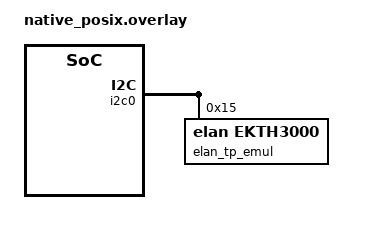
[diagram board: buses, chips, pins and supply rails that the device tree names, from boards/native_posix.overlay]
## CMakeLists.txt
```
target_sources(app PRIVATE
    src/battery.c
    src/bb_retimer.c
    src/bma2x2.c
    src/bma4xx.c
    src/bmi_common.c
    src/bmi160.c
    src/bmi260.c
    src/charge_manager.c
    src/charge_ramp.c
    src/charge_state_prevent_power_on.c
    src/console.c
    src/cros_cbi.c
    src/espi.c
    src/gpio.c
    src/integration/usbc/usb.c
    src/integration/usbc/usb_20v_3a_pd_charger.c
    src/integration/usbc/usb_5v_3a_pd_sink.c
    src/integration/usbc/usb_5v_100ma_pd_sink.c
    src/integration/usbc/usb_5v_0a_pd_source.c
    src/integration/usbc/usb_5v_3a_pd_source.c
    src/integration/usbc/usb_attach_src_snk.c
    src/integration/usbc/usb_charging_policy.c
    src/integration/usbc/usb_hard_reset.c
    src/integration/usbc/usb_pd_bist_shared.c
    src/integration/usbc/usb_pd_ctrl_msg.c
    src/integration/usbc/usb_pd_rev3.c
    src/i2c.c
    src/i2c_passthru.c
    src/isl923x.c
    src/led.c
    src/lid_angle.c
    src/lid_switch.c
    src/lis2dw12.c
    src/ln9310.c
    src/locate_chip.c
    src/logging.c
    src/motion_sense/motion_sense.c
    src/panic.c
    src/panic_output.c
    src/port80.c
    src/power_common.c
    src/ppc_sn5s330.c
    src/ppc_syv682x.c
    src/ps8xxx.c
    src/stm_mems_common.c
    src/tablet_mode.c
    src/task.c
    src/tcpci.c
    src/tcpci_test_common.c
    src/tcpm_header.c
    src/tcs3400.c
    src/temp_sensor.c
    src/thermistor.c
    src/touchpad_elan.c
    src/usb_mux.c
    src/util.c
    src/vboot_hash.c
    src/virtual_battery.c
    src/vstore.c
    src/watchdog.c
)

add_subdirectory(
    ${PLATFORM_EC}/zephyr/test/drivers/mock_panic_output
    mock_panic_output
)

# This test does not work when power functions are mocked, so only run it for
# the plain `drivers.default` test case.
zephyr_library_sources_ifndef(CONFIG_POWER_SEQUENCE_MOCK src/chipset.c)
```

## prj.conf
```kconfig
# Copyright 2022 The ChromiumOS Authors
# Use of this source code is governed by a BSD-style license that can be
# found in the LICENSE file.

CONFIG_PLATFORM_EC_CMD_BUTTON=y
CONFIG_PLATFORM_EC_CMD_POWERINDEBUG=y
CONFIG_PLATFORM_EC_CONSOLE_CMD_RTC=y
CONFIG_PLATFORM_EC_CONSOLE_CMD_RTC_ALARM=y
CONFIG_PLATFORM_EC_RTC=y
CONFIG_PLATFORM_EC_VOLUME_BUTTONS=y
CONFIG_TASK_HOSTCMD_THREAD_MAIN=y
CONFIG_PLATFORM_EC_USBC_PPC_DEDICATED_INT=y

CONFIG_SYSTEM_FAKE=y
CONFIG_GPIO_GET_CONFIG=y
CONFIG_PLATFORM_EC_CHARGER_INPUT_CURRENT_DERATE_PCT=0
CONFIG_PLATFORM_EC_CHARGER_SET_FREQUENCY=y
CONFIG_PLATFORM_EC_LOG_CUSTOM_TIMESTAMP=y
CONFIG_PLATFORM_EC_USB_CHARGER=y
```

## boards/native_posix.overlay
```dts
/* Copyright 2022 The ChromiumOS Authors
 * Use of this source code is governed by a BSD-style license that can be
 * found in the LICENSE file.
 */

#include "../../boards/native_posix.overlay"

/*
 * The TCPCI test verfies the mux behavior in two configurations:
 *   flags = USB_MUX_FLAG_NOT_TCPC;
 *   flags = 0;
 *
 * When USB_MUX_FLAG_NOT_TCPC is set, the TCPCI mux driver must initialize
 * the I2C bus and address from the devicetree.
 *
 * The TCPCI mux doesn't have it's owm emulator and sends it's I2C transactions
 * through the normal TCPCI driver, which then connects to the TCPCI emulator.
 *
 * Use 2 compaible strings here so that the same I2C device node gets setup for
 * both the emulator and the TPCI mux.
 */
&tcpci_emul {
	compatible = "cros,tcpci-generic-emul", "cros-ec,usbc-mux-tcpci";
};

/ {
	usbc {
		port0@0 {
			usb-mux-chain-0 {
				usb-muxes = <&tcpci_emul &virtual_mux_c0>;
			};
		};
	};

	gpio-interrupts {
		int_touchpad_elan: touchpad_elan {
			irq-pin = <&gpio_touchpad_elan_int>;
			flags = <GPIO_INT_EDGE_FALLING>;
			handler = "touchpad_interrupt";
		};
	};
};

&i2c0 {
	elan_tp_emul: elan-tp@15 {
		compatible = "elan,ekth3000";
		reg = <0x15>;
		irq = <&int_touchpad_elan>;
		logical_max_x = <2644>;
		logical_max_y = <1440>;
		physical_max_x = <839>;
		physical_max_y = <457>;
	};
};
```

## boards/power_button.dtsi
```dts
/* Copyright 2023 The ChromiumOS Authors
 * Use of this source code is governed by a BSD-style license that can be
 * found in the LICENSE file.
 */
#include <dt-bindings/buttons.h>
#include <zephyr/dt-bindings/input/input-event-codes.h>

/ {
	gpio_keys0: gpio-keys {
		compatible = "zephyr,gpio-keys";
		debounce-interval-ms = <30>;
		power_button: power_button {
			gpios = <&gpio0 25 (GPIO_ACTIVE_LOW | GPIO_PULL_UP)>;
			/* TODO: use an INPUT_KEY code here. */
			zephyr,code = <BUTTON_POWER>;
		};
	};

};
```

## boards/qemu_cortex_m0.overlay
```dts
/* Copyright 2022 The ChromiumOS Authors
 * Use of this source code is governed by a BSD-style license that can be
 * found in the LICENSE file.
 */

#include "../../boards/qemu_cortex_m0.overlay"

/*
 * The TCPCI test verfies the mux behavior in two configurations:
 *   flags = USB_MUX_FLAG_NOT_TCPC;
 *   flags = 0;
 *
 * When USB_MUX_FLAG_NOT_TCPC is set, the TCPCI mux driver must initialize
 * the I2C bus and address from the devicetree.
 *
 * The TCPCI mux doesn't have it's owm emulator and sends it's I2C transactions
 * through the normal TCPCI driver, which then connects to the TCPCI emulator.
 *
 * Use 2 compaible strings here so that the same I2C device node gets setup for
 * both the emulator and the TPCI mux.
 */
&tcpci_emul {
	compatible = "cros,tcpci-generic-emul", "cros-ec,usbc-mux-tcpci";
};

/ {
	usbc {
		port0@0 {
			usb-mux-chain-0 {
				usb-muxes = <&tcpci_emul &virtual_mux_c0>;
			};
		};
	};
};
```

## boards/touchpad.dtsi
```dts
/* Copyright 2024 The ChromiumOS Authors
 * Use of this source code is governed by a BSD-style license that can be
 * found in the LICENSE file.
 */

/ {
	gpio-interrupts {
		int_touchpad_elan: touchpad_elan {
			irq-pin = <&gpio_touchpad_elan_int>;
			flags = <GPIO_INT_EDGE_FALLING>;
			handler = "touchpad_interrupt";
		};
	};
};

&i2c0 {
	elan_tp_emul: elan-tp@15 {
		compatible = "elan,ekth3000";
		reg = <0x15>;
		irq = <&int_touchpad_elan>;
		logical-max-x = <2644>;
		logical-max-y = <1440>;
		physical-max-x = <839>;
		physical-max-y = <457>;
	};
};
```

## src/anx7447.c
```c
/* Copyright 2022 The ChromiumOS Authors
 * Use of this source code is governed by a BSD-style license that can be
 * found in the LICENSE file.
 */

#include <zephyr/drivers/emul.h>
#include <zephyr/ztest.h>

#include "emul/tcpc/emul_tcpci.h"
#include "tcpm/anx7447_public.h"
#include "tcpm/tcpci.h"
#include "test/drivers/stubs.h"
#include "test/drivers/test_state.h"
#include "usb_pd.h"

#define ANX7447_NODE DT_NODELABEL(anx7447_emul)

static const int tcpm_anx7447_port = USBC_PORT_C2;

ZTEST_SUITE(low_power_mode, drivers_predicate_post_main, NULL, NULL, NULL,
	    NULL);

ZTEST(low_power_mode, enter_low_power_in_source_mode)
{
	uint16_t reg_val = 0;
	const struct emul *anx7447_emul = EMUL_DT_GET(ANX7447_NODE);

	pd_set_dual_role(tcpm_anx7447_port, PD_DRP_FORCE_SOURCE);
	tcpci_emul_set_reg(anx7447_emul, TCPC_REG_ROLE_CTRL, 0);

	zassert_ok(anx7447_tcpm_drv.enter_low_power_mode(tcpm_anx7447_port),
		   "Cannot enter low power mode");
	zassert_ok(tcpci_emul_get_reg(anx7447_emul, TCPC_REG_ROLE_CTRL,
				      &reg_val),
		   "Cannot get TCPC Role Register value");
	zassert_equal(
		reg_val,
		TCPC_REG_ROLE_CTRL_SET(TYPEC_NO_DRP, TYPEC_RP_USB, TYPEC_CC_RP,
				       TYPEC_CC_RP),
		"Role register value is not as expected while entering low power mode");
}

ZTEST(low_power_mode, enter_low_power_not_in_source_mode)
{
	uint16_t reg_val = 0;
	const struct emul *anx7447_emul = EMUL_DT_GET(ANX7447_NODE);

	pd_set_dual_role(tcpm_anx7447_port, PD_DRP_FORCE_SINK);
	tcpci_emul_set_reg(anx7447_emul, TCPC_REG_ROLE_CTRL, 0);

	zassert_ok(anx7447_tcpm_drv.enter_low_power_mode(tcpm_anx7447_port),
		   "Cannot enter low power mode");
	zassert_ok(tcpci_emul_get_reg(anx7447_emul, TCPC_REG_ROLE_CTRL,
				      &reg_val),
		   "Cannot get TCPC Role Register value");
	zassert_equal(reg_val, 0, "Role register value is changed");
}
```

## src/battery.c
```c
/* Copyright 2021 The ChromiumOS Authors
 * Use of this source code is governed by a BSD-style license that can be
 * found in the LICENSE file.
 */

#include "battery.h"
#include "battery_fuel_gauge.h"
#include "crc8.h"
#include "emul/emul_common_i2c.h"
#include "emul/emul_smart_battery.h"
#include "test/drivers/test_state.h"
#include "test/drivers/utils.h"

#include <zephyr/drivers/emul.h>
#include <zephyr/drivers/gpio.h>
#include <zephyr/drivers/gpio/gpio_emul.h>
#include <zephyr/fff.h>
#include <zephyr/kernel.h>
#include <zephyr/ztest.h>

#define GPIO_BATT_PRES_ODL_PATH NAMED_GPIOS_GPIO_NODE(ec_batt_pres_odl)
#define GPIO_BATT_PRES_ODL_PORT DT_GPIO_PIN(GPIO_BATT_PRES_ODL_PATH, gpios)

FAKE_VALUE_FUNC(int, battery2_write_func, const struct emul *, int, uint8_t,
		int, void *);
FAKE_VALUE_FUNC(int, battery2_read_func, const struct emul *, int, uint8_t *,
		int, void *);

bool authenticate_battery_type(int index, const char *manuf_name);

extern int battery_fuel_gauge_type_override;

struct battery_fixture {
	struct i2c_common_emul_data *battery_i2c_common;
	i2c_common_emul_finish_write_func finish_write_func;
	i2c_common_emul_start_read_func start_read_func;
};

static void *battery_setup(void)
{
	static struct battery_fixture fixture;
	static const struct emul *emul = EMUL_DT_GET(DT_NODELABEL(battery));

	fixture.battery_i2c_common =
		emul_smart_battery_get_i2c_common_data(emul);

	return &fixture;
}

static void battery_before(void *data)
{
	struct battery_fixture *fixture = data;

	RESET_FAKE(battery2_write_func);
	RESET_FAKE(battery2_read_func);
	fixture->finish_write_func = fixture->battery_i2c_common->finish_write;
	fixture->start_read_func = fixture->battery_i2c_common->start_read;
}

static void battery_after(void *data)
{
	struct battery_fixture *fixture = data;
	const struct device *dev =
		DEVICE_DT_GET(DT_GPIO_CTLR(GPIO_BATT_PRES_ODL_PATH, gpios));

	/* Set default state (battery is present) */
	gpio_emul_input_set(dev, GPIO_BATT_PRES_ODL_PORT, 0);
	battery_fuel_gauge_type_override = -1;

	i2c_common_emul_set_write_func(fixture->battery_i2c_common, NULL, NULL);
	i2c_common_emul_set_read_func(fixture->battery_i2c_common, NULL, NULL);
	fixture->battery_i2c_common->finish_write = fixture->finish_write_func;
	fixture->battery_i2c_common->start_read = fixture->start_read_func;
}

ZTEST_SUITE(battery, drivers_predicate_post_main, battery_setup, battery_before,
	    battery_after, NULL);

ZTEST_USER(battery, test_battery_is_present_gpio)
{
	const struct device *dev =
		DEVICE_DT_GET(DT_GPIO_CTLR(GPIO_BATT_PRES_ODL_PATH, gpios));

	zassert_not_null(dev, NULL);
	/* ec_batt_pres_odl = 0 means battery present. */
	zassert_ok(gpio_emul_input_set(dev, GPIO_BATT_PRES_ODL_PORT, 0));
	zassert_equal(BP_YES, battery_is_present());
	/* ec_batt_pres_odl = 1 means battery missing. */
	zassert_ok(gpio_emul_input_set(dev, GPIO_BATT_PRES_ODL_PORT, 1));
	zassert_equal(BP_NO, battery_is_present());
}

ZTEST(battery, test_authenticate_battery_type)
{
	/* Invalid index */
	zassert_false(authenticate_battery_type(BATTERY_TYPE_COUNT, NULL));
	/* Use fuel-gauge 1's manufacturer name for index 0 */
	zassert_false(authenticate_battery_type(
		0, board_battery_info[1].manuf_name));
	/* Use the correct manufacturer name, but wrong device name (because the
	 * index is 1 and not 0)
	 */
	zassert_false(authenticate_battery_type(
		1, board_battery_info[1].manuf_name));
}

ZTEST(battery, test_board_get_default_battery_type)
{
	zassert_equal(DEFAULT_BATTERY_TYPE, board_get_default_battery_type());
}

ZTEST_F(battery, test_board_cutoff_actuates_driver)
{
	/* We check the return type because board_is_cut_off() is set outside of
	 * board_cut_off_battery() and may be changed by other factors.
	 */

	/* Setup error conditions for battery 1*/
	battery_fuel_gauge_type_override = 1;
	fixture->battery_i2c_common->finish_write = NULL;
	i2c_common_emul_set_write_func(fixture->battery_i2c_common,
				       battery2_write_func, NULL);

	/* Check that i2c error returns EC_RES_ERROR */
	battery2_write_func_fake.return_val = -1;
	zassert_equal(EC_RES_ERROR, board_cut_off_battery());

	/* Check for OK when i2c succeeds */
	battery2_write_func_fake.return_val = 0;
	zassert_ok(board_cut_off_battery());
}

ZTEST_F(battery, test_sleep)
{
	/* Check 1st battery (lgc,ac17a8m) */
	battery_fuel_gauge_type_override = 0;
	zassert_equal(EC_ERROR_UNIMPLEMENTED, battery_sleep_fuel_gauge());

	/* Check 2nd battery (panasonic,ap15l5j) */
	battery_fuel_gauge_type_override = 1;
	fixture->battery_i2c_common->finish_write = NULL;
	i2c_common_emul_set_write_func(fixture->battery_i2c_common,
				       battery2_write_func, NULL);
	zassert_ok(battery_sleep_fuel_gauge());
}

struct battery2_read_data {
	size_t count;
	const uint8_t *values;
};

static int battery2_read(const struct emul *target, int reg, uint8_t *val,
			 int bytes, void *d)
{
	struct battery2_read_data *data = d;

	if (bytes < data->count) {
		*val = data->values[bytes];
	}

	return 0;
}

ZTEST(battery, test_is_charge_fet_disabled__cfet_mask_is_0)
{
	battery_fuel_gauge_type_override = 2;
	zassert_equal(0, battery_is_charge_fet_disabled());
}

ZTEST_F(battery, test_is_charge_fet_disabled__i2c_error)
{
	/* Set the battery to battery 1 */
	battery_fuel_gauge_type_override = 1;

	/* Override the finish_write common callback since we don't actually
	 * want to be messing with the emulator.
	 */
	fixture->battery_i2c_common->finish_write = NULL;

	/* Set up an error condition for battery 1 to fail writing to i2c */
	battery2_write_func_fake.return_val = -1;
	i2c_common_emul_set_write_func(fixture->battery_i2c_common,
				       battery2_write_func, NULL);

	/* Verify the error */
	zassert_equal(-1, battery_is_charge_fet_disabled());
}

ZTEST_F(battery, test_is_charge_fet_disabled)
{
	static uint8_t values[] = { 0x20, 0x54, 0xFF };

	static struct battery2_read_data data = {
		/* assume no PEC for count. We'll add it later if we need it */
		.count = ARRAY_SIZE(values) - 1,
		.values = values,
	};

	/* TODO(b/279203401): This code should actually live in an API to tell
	 * the emulator what an expected response is, rather than in the test
	 */
	if (IS_ENABLED(CONFIG_SMBUS_PEC)) {
		uint8_t pec;

		/* make room for the R/W bit */
		const uint8_t addr_8bit = 0xb << 1;

		/* from the DT battery node, grab fet_reg_addr,
		 * default is 0x0 MFG
		 */
		const uint8_t reg =
			DT_PROP_OR(DT_NODELABEL(battery), fet_reg_addr, 0x0);

		/* copied from i2c_controller.c:platform_ec_i2c_read
		 *
		 * We start our CRC with the front part of the i2c packet,
		 * which is the host driving address+reg/cmd, and then
		 * redriving address with read bit. This goes into "out"
		 * Then we complete the CRC across the two data bytes.
		 * This is the target driving it back.
		 * Finally, we'll append PEC to the end of the data, also
		 * something the target would return back.
		 * See: SMBUS Specification 3.2 page 40, & Sec 6.5
		 * http://smbus.org/specs/SMBus_3_2_20220112.pdf
		 */

		const uint8_t out[3] = { addr_8bit, reg, addr_8bit | 1 };

		pec = cros_crc8(out, ARRAY_SIZE(out));
		pec = cros_crc8_arg(values, ARRAY_SIZE(values) - 1, pec);

		values[ARRAY_SIZE(values) - 1] = pec;
		data.count++; /* update for PEC */
	}

	/* Set up the fake read function */
	battery2_read_func_fake.custom_fake = battery2_read;
	i2c_common_emul_set_read_func(fixture->battery_i2c_common,
				      battery2_read_func, &data);

	/* Override the finish_write and start_read common callback since we
	 * don't actually want to be messing with the emulator.
	 */
	fixture->battery_i2c_common->finish_write = NULL;
	fixture->battery_i2c_common->start_read = NULL;

	int rv = battery_is_charge_fet_disabled();

	zassert_equal(1, rv, "RV=%x", rv);
}

ZTEST_F(battery, test_get_disconnect_state__fail_i2c_read)
{
	/* Use battery 0 */
	battery_fuel_gauge_type_override = 0;

	/* Configure i2c to fail on read */
	battery2_read_func_fake.return_val = -1;
	i2c_common_emul_set_read_func(fixture->battery_i2c_common,
				      battery2_read_func, NULL);

	/* Check for disconnect error */
	zassert_equal(BATTERY_DISCONNECT_ERROR, battery_get_disconnect_state());
}

ZTEST_F(battery, test_get_disconnect_state)
{
	uint8_t values[] = { 0x00, 0x20, 0xFF };
	struct battery2_read_data data = {
		/* assume no PEC for count. We'll add it later if we need it */
		.count = ARRAY_SIZE(values) - 1,
		.values = values,
	};

	/* Use battery 0 */
	battery_fuel_gauge_type_override = 0;

	/* TODO(b/279203401): This code should actually live in an API to tell
	 * the emulator what an expected response is, rather than in the test
	 */
	if (IS_ENABLED(CONFIG_SMBUS_PEC)) {
		uint8_t pec;

		/* make room for the R/W bit */
		const uint8_t addr_8bit = 0xb << 1;

		/* reg is normally 0x0 for manufacturer access, but it can
		 * come from elsewhere. use the device tree for this purpose
		 */
		uint8_t mfg_reg = DT_PROP_OR(DT_NODELABEL(battery),
					     ship_mode_reg_addr, 0x0);
		const uint8_t out[3] = { addr_8bit, mfg_reg, addr_8bit | 1 };

		pec = cros_crc8(out, ARRAY_SIZE(out));
		pec = cros_crc8_arg(values, 2, pec);

		values[2] = pec;
		data.count = 3; /* update for PEC */
	}

	/* Enable i2c reads and set them to always return 0x2000 */
	battery2_read_func_fake.custom_fake = battery2_read;
	i2c_common_emul_set_read_func(fixture->battery_i2c_common,
				      battery2_read_func, &data);

	int rv = battery_get_disconnect_state();

	zassert_equal(BATTERY_DISCONNECTED, rv, "RV=%x", rv);
}
```

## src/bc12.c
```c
/* Copyright 2021 The ChromiumOS Authors
 * Use of this source code is governed by a BSD-style license that can be
 * found in the LICENSE file.
 */

#include "battery.h"
#include "emul/emul_pi3usb9201.h"
#include "extpower.h"
#include "test/drivers/stubs.h"
#include "test/drivers/test_state.h"
#include "test/drivers/utils.h"
#include "timer.h"
#include "usb_charge.h"

#include <zephyr/drivers/gpio.h>
#include <zephyr/drivers/gpio/gpio_emul.h>
#include <zephyr/kernel.h>
#include <zephyr/logging/log.h>
#include <zephyr/ztest.h>
LOG_MODULE_REGISTER(test_drivers_bc12, LOG_LEVEL_DBG);

#define EMUL_NODE DT_NODELABEL(pi3usb9201_emul)

/* Control_1 register bit definitions */
#define PI3USB9201_REG_CTRL_1_INT_MASK BIT(0)
#define PI3USB9201_REG_CTRL_1_MODE_SHIFT 1
#define PI3USB9201_REG_CTRL_1_MODE_MASK \
	(0x7 << PI3USB9201_REG_CTRL_1_MODE_SHIFT)

/* Control_2 register bit definitions */
#define PI3USB9201_REG_CTRL_2_AUTO_SW BIT(1)
#define PI3USB9201_REG_CTRL_2_START_DET BIT(3)

/* Host status register bit definitions */
#define PI3USB9201_REG_HOST_STS_BC12_DET BIT(0)
#define PI3USB9201_REG_HOST_STS_DEV_PLUG BIT(1)
#define PI3USB9201_REG_HOST_STS_DEV_UNPLUG BIT(2)

enum pi3usb9201_mode {
	PI3USB9201_POWER_DOWN,
	PI3USB9201_SDP_HOST_MODE,
	PI3USB9201_DCP_HOST_MODE,
	PI3USB9201_CDP_HOST_MODE,
	PI3USB9201_CLIENT_MODE,
	PI3USB9201_RESERVED_1,
	PI3USB9201_RESERVED_2,
	PI3USB9201_USB_PATH_ON,
};

enum pi3usb9201_client_sts {
	CHG_OTHER = 0,
	CHG_2_4A,
	CHG_2_0A,
	CHG_1_0A,
	CHG_RESERVED,
	CHG_CDP,
	CHG_SDP,
	CHG_DCP,
};

struct bc12_status {
	enum charge_supplier supplier;
	int current_limit;
};

static const struct bc12_status bc12_chg_limits[] = {
	[CHG_OTHER] = { .supplier = CHARGE_SUPPLIER_OTHER,
			.current_limit = 500 },
	[CHG_2_4A] = { .supplier = CHARGE_SUPPLIER_PROPRIETARY,
		       .current_limit = USB_CHARGER_MAX_CURR_MA },
	[CHG_2_0A] = { .supplier = CHARGE_SUPPLIER_PROPRIETARY,
		       .current_limit = USB_CHARGER_MAX_CURR_MA },
	[CHG_1_0A] = { .supplier = CHARGE_SUPPLIER_PROPRIETARY,
		       .current_limit = 1000 },
	[CHG_RESERVED] = { .supplier = CHARGE_SUPPLIER_NONE,
			   .current_limit = 0 },
	[CHG_CDP] = { .supplier = CHARGE_SUPPLIER_BC12_CDP,
		      .current_limit = USB_CHARGER_MAX_CURR_MA },
	[CHG_SDP] = { .supplier = CHARGE_SUPPLIER_BC12_SDP,
		      .current_limit = 500 },
#if defined(CONFIG_CHARGE_RAMP_SW) || defined(CONFIG_CHARGE_RAMP_HW)
	[CHG_DCP] = { .supplier = CHARGE_SUPPLIER_BC12_DCP,
		      .current_limit = USB_CHARGER_MAX_CURR_MA },
#else
	[CHG_DCP] = { .supplier = CHARGE_SUPPLIER_BC12_DCP,
		      .current_limit = 500 },
#endif
};

#define GPIO_BATT_PRES_ODL_PATH DT_PATH(named_gpios, ec_batt_pres_odl)
#define GPIO_BATT_PRES_ODL_PORT DT_GPIO_PIN(GPIO_BATT_PRES_ODL_PATH, gpios)

static void test_bc12_pi3usb9201_host_mode(void)
{
	const struct emul *emul = EMUL_DT_GET(EMUL_NODE);
	uint8_t a, b;

	/*
	 * Pretend that the USB-C Port Manager (TCPMv2) has set the port data
	 * role to DFP.
	 */
	usb_charger_task_set_event(0, USB_CHG_EVENT_DR_DFP);
	msleep(1);
	/*
	 * Expect the pi3usb9201 driver to configure CDP host mode and unmask
	 * interrupts.
	 */
	pi3usb9201_emul_get_reg(emul, PI3USB9201_REG_CTRL_1, &a);
	b = PI3USB9201_CDP_HOST_MODE << PI3USB9201_REG_CTRL_1_MODE_SHIFT;
	zassert_equal(a, b, NULL);

	/* Pretend that a device has been plugged in. */
	msleep(500);
	pi3usb9201_emul_set_reg(emul, PI3USB9201_REG_HOST_STS,
				PI3USB9201_REG_HOST_STS_DEV_PLUG);
	usb_charger_task_set_event(0, USB_CHG_EVENT_BC12);
	msleep(1);
	/* Expect the pi3usb9201 driver to configure SDP host mode. */
	pi3usb9201_emul_get_reg(emul, PI3USB9201_REG_CTRL_1, &a);
	b = PI3USB9201_SDP_HOST_MODE << PI3USB9201_REG_CTRL_1_MODE_SHIFT;
	zassert_equal(a, b, NULL);
	pi3usb9201_emul_set_reg(emul, PI3USB9201_REG_HOST_STS, 0);

	/* Pretend that a device has been unplugged. */
	msleep(500);
	pi3usb9201_emul_set_reg(emul, PI3USB9201_REG_HOST_STS,
				PI3USB9201_REG_HOST_STS_DEV_UNPLUG);
	usb_charger_task_set_event(0, USB_CHG_EVENT_BC12);
	msleep(1);
	/* Expect the pi3usb9201 driver to configure CDP host mode. */
	pi3usb9201_emul_get_reg(emul, PI3USB9201_REG_CTRL_1, &a);
	b = PI3USB9201_CDP_HOST_MODE << PI3USB9201_REG_CTRL_1_MODE_SHIFT;
	zassert_equal(a, b, NULL);
	pi3usb9201_emul_set_reg(emul, PI3USB9201_REG_HOST_STS, 0);
}

static void
test_bc12_pi3usb9201_client_mode(enum pi3usb9201_client_sts detect_result,
				 enum charge_supplier supplier,
				 int current_limit)
{
	const struct emul *emul = EMUL_DT_GET(EMUL_NODE);
	uint8_t a, b;
	int port, voltage;

	/*
	 * Pretend that the USB-C Port Manager (TCPMv2) has set the port data
	 * role to UFP and decided charging from the port is allowed.
	 */
	msleep(500);
	usb_charger_task_set_event(0, USB_CHG_EVENT_DR_UFP);
	charge_manager_update_dualrole(USBC_PORT_C0, CAP_DEDICATED);
	msleep(1);
	/*
	 * Expect the pi3usb9201 driver to configure client mode and start
	 * detection.
	 */
	pi3usb9201_emul_get_reg(emul, PI3USB9201_REG_CTRL_1, &a);
	b = PI3USB9201_CLIENT_MODE << PI3USB9201_REG_CTRL_1_MODE_SHIFT;
	zassert_equal(a, b, NULL);
	pi3usb9201_emul_get_reg(emul, PI3USB9201_REG_CTRL_2, &a);
	b = PI3USB9201_REG_CTRL_2_START_DET;
	zassert_equal(a, b, NULL);

	/* Pretend that detection completed. */
	msleep(500);
	pi3usb9201_emul_set_reg(emul, PI3USB9201_REG_CLIENT_STS,
				1 << detect_result);
	usb_charger_task_set_event(0, USB_CHG_EVENT_BC12);
	msleep(1);
	/* Expect the pi3usb9201 driver to clear the start bit. */
	pi3usb9201_emul_get_reg(emul, PI3USB9201_REG_CTRL_2, &a);
	zassert_equal(a, 0, NULL);
	pi3usb9201_emul_set_reg(emul, PI3USB9201_REG_CLIENT_STS, 0);
	/*
	 * Expect the charge manager to select the detected BC1.2 supplier.
	 */
	port = CHARGE_PORT_NONE;
	voltage = 0;
	if (supplier != CHARGE_SUPPLIER_NONE) {
		port = USBC_PORT_C0;
		voltage = USB_CHARGER_VOLTAGE_MV;
	}
	/* Wait for the charge port to update. */
	msleep(500);
	zassert_equal(charge_manager_get_active_charge_port(), port, NULL);
	zassert_equal(charge_manager_get_supplier(), supplier, NULL);
	zassert_equal(charge_manager_get_charger_current(), current_limit,
		      NULL);
	zassert_equal(charge_manager_get_charger_voltage(), voltage, NULL);

	/*
	 * Pretend that the USB-C Port Manager (TCPMv2) has set the port data
	 * role to disconnected.
	 */
	msleep(500);
	usb_charger_task_set_event(0, USB_CHG_EVENT_CC_OPEN);
	msleep(1);
	/*
	 * Expect the pi3usb9201 driver to configure power down mode and mask
	 * interrupts.
	 */
	pi3usb9201_emul_get_reg(emul, PI3USB9201_REG_CTRL_1, &a);
	b = PI3USB9201_POWER_DOWN << PI3USB9201_REG_CTRL_1_MODE_SHIFT;
	b |= PI3USB9201_REG_CTRL_1_INT_MASK;
	zassert_equal(a, b, NULL);
	/* Expect the charge manager to have no active supplier. */
	zassert_equal(charge_manager_get_active_charge_port(), CHARGE_PORT_NONE,
		      NULL);
	zassert_equal(charge_manager_get_supplier(), CHARGE_SUPPLIER_NONE,
		      NULL);
	zassert_equal(charge_manager_get_charger_current(), 0, NULL);
	zassert_equal(charge_manager_get_charger_voltage(), 0, NULL);
}

/*
 * PI3USB9201 is a dual-role BC1.2 charger detector/advertiser used on USB
 * ports. It can be programmed to operate in host mode or client mode through
 * I2C. When operating as a host, PI3USB9201 enables BC1.2 SDP/CDP/DCP
 * advertisement to the attached USB devices via the D+/- connection. When
 * operating as a client, PI3USB9201 starts BC1.2 detection to detect the
 * attached host type. In both host mode and client mode, the detection results
 * are reported through I2C to the controller.
 */
ZTEST_USER(bc12, test_bc12_pi3usb9201)
{
	const struct device *batt_pres_dev =
		DEVICE_DT_GET(DT_GPIO_CTLR(GPIO_BATT_PRES_ODL_PATH, gpios));
	const struct emul *emul = EMUL_DT_GET(EMUL_NODE);
	uint8_t a, b;

	/* Pretend we have battery and AC so charging works normally. */
	zassert_ok(gpio_emul_input_set(batt_pres_dev, GPIO_BATT_PRES_ODL_PORT,
				       0),
		   NULL);
	zassert_equal(BP_YES, battery_is_present(), NULL);
	set_ac_enabled(true);

	/* Wait long enough for TCPMv2 to be idle. */
	msleep(2000);

	/*
	 * Pretend that the USB-C Port Manager (TCPMv2) has set the port data
	 * role to disconnected.
	 */
	usb_charger_task_set_event(0, USB_CHG_EVENT_CC_OPEN);
	usb_charger_task_set_event(1, USB_CHG_EVENT_CC_OPEN);
	msleep(1);
	/*
	 * Expect the pi3usb9201 driver to configure power down mode and mask
	 * interrupts.
	 */
	pi3usb9201_emul_get_reg(emul, PI3USB9201_REG_CTRL_1, &a);
	b = PI3USB9201_POWER_DOWN << PI3USB9201_REG_CTRL_1_MODE_SHIFT;
	b |= PI3USB9201_REG_CTRL_1_INT_MASK;
	zassert_equal(a, b, NULL);

	test_bc12_pi3usb9201_host_mode();

	for (int c = CHG_OTHER; c <= CHG_DCP; c++) {
		test_bc12_pi3usb9201_client_mode(
			c, bc12_chg_limits[c].supplier,
			bc12_chg_limits[c].current_limit);
	}
}

/*
 * TODO(b/216660795): Cleanup state using a teardown_fn
 */
static void bc12_after(void *unused)
{
	set_ac_enabled(false);
}

ZTEST_SUITE(bc12, drivers_predicate_post_main, NULL, NULL, bc12_after, NULL);
```

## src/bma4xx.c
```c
/* Copyright 2023 The ChromiumOS Authors
 * Use of this source code is governed by a BSD-style license that can be
 * found in the LICENSE file.
 */

#include "accelgyro.h"
#include "common.h"
#include "driver/accel_bma4xx.h"
#include "emul/emul_bma4xx.h"
#include "emul/emul_common_i2c.h"
#include "i2c.h"
#include "motion_sense.h"
#include "motion_sense_fifo.h"
#include "test/drivers/test_state.h"

#include <zephyr/fff.h>
#include <zephyr/kernel.h>
#include <zephyr/logging/log.h>
#include <zephyr/ztest.h>

#define EMUL EMUL_DT_GET(DT_NODELABEL(bma422_emul))
#define SENSOR bma4xx_emul_get_sensor_data(EMUL)

LOG_MODULE_REGISTER(test_bma4xx, LOG_LEVEL_INF);

ZTEST_SUITE(bma4xx, drivers_predicate_post_main, NULL, NULL, NULL, NULL);

static int read_wrong_chip_id(const struct emul *target, int reg, uint8_t *val,
			      int bytes, void *data)
{
	if (reg == BMA4_CHIP_ID_ADDR) {
		*val = 0x13;
		return 0;
	}
	return 1;
}

ZTEST_USER(bma4xx, test_init)
{
	/* Basic initialization works. */
	zassert_ok(bma4_accel_drv.init(SENSOR));

	/* Sensor gets turned off if it was already on. */
	bma4xx_emul_set_accel_enabled(EMUL, true);
	zassert_ok(bma4_accel_drv.init(SENSOR));
	zassert_false(bma4xx_emul_is_accel_enabled(EMUL));

	/* Unexpected chip ID is an error. */
	i2c_common_emul_set_read_func(bma4xx_emul_get_i2c(EMUL),
				      read_wrong_chip_id, NULL);
	zassert_equal(EC_ERROR_HW_INTERNAL, bma4_accel_drv.init(SENSOR));
}

ZTEST_USER(bma4xx, test_set_range)
{
	/* Sets to ±16g successfully. */
	zassert_ok(bma4_accel_drv.set_range(SENSOR, 16, 0));
	zassert_equal(16, bma4xx_emul_get_accel_range(EMUL));

	/* ±3g with roundup flag is ±4. */
	zassert_ok(bma4_accel_drv.set_range(SENSOR, 3, 1));
	zassert_equal(4, bma4xx_emul_get_accel_range(EMUL));

	/* .. ±2g without roundup flag. */
	zassert_ok(bma4_accel_drv.set_range(SENSOR, 3, 0));
	zassert_equal(2, bma4xx_emul_get_accel_range(EMUL));

	/* Communication errors bubble up and don't change the range. */
	i2c_common_emul_set_write_fail_reg(bma4xx_emul_get_i2c(EMUL),
					   BMA4_ACCEL_RANGE_ADDR);
	zassert_not_equal(0, bma4_accel_drv.set_range(SENSOR, 8, 0));
	zassert_equal(2, bma4xx_emul_get_accel_range(EMUL));
}

ZTEST_USER(bma4xx, test_data_rate)
{
	int odr;

	/* Requesting zero ODR disables the sensor. */
	bma4xx_emul_set_accel_enabled(EMUL, true);
	zassert_ok(bma4_accel_drv.set_data_rate(SENSOR, 0, 0));
	zassert_false(bma4xx_emul_is_accel_enabled(EMUL));

	/*
	 * Minimum supported ODR is 0.78125 Hz; smaller requested values should
	 * still yield a nonzero ODR and enable a previously-disabled sensor.
	 */
	zassert_ok(bma4_accel_drv.set_data_rate(SENSOR, 200, 0));
	zassert_true(bma4xx_emul_is_accel_enabled(EMUL));
	odr = bma4_accel_drv.get_data_rate(SENSOR);
	zassert_equal(781, odr, "actual reported data rate was %d mHz", odr);
	zassert_equal(781, bma4xx_emul_get_odr(EMUL),
		      "emulator ODR did not match driver ODR");

	/*
	 * Faster than can be supported goes to the maximum possible ODR. 4 kHz
	 * rounds down to 3.2 kHz which is still too high, so we actually get
	 * 1.6 kHz.
	 */
	zassert_ok(bma4_accel_drv.set_data_rate(SENSOR, 4000 * 1000, 0));
	odr = bma4_accel_drv.get_data_rate(SENSOR);
	zassert_equal(1600 * 1000, odr, "actual reported data rate was %d mHz",
		      odr);
	zassert_equal(1600 * 1000, bma4xx_emul_get_odr(EMUL),
		      "emulator ODR did not match driver ODR");

	/* Rounds up only if requested, otherwise down. */
	zassert_ok(bma4_accel_drv.set_data_rate(SENSOR, 160 * 1000, 0));
	odr = bma4xx_emul_get_odr(EMUL);
	zassert_equal(100 * 1000, odr, "actual ODR was %d", odr);
	zassert_ok(bma4_accel_drv.set_data_rate(SENSOR, 160 * 1000, 1));
	odr = bma4xx_emul_get_odr(EMUL);
	zassert_equal(200 * 1000, odr, "actual ODR was %d", odr);

	/* Communication errors bubble up and reported ODR is unchanged. */
	i2c_common_emul_set_write_fail_reg(bma4xx_emul_get_i2c(EMUL),
					   BMA4_ACCEL_CONFIG_ADDR);
	zassert_not_equal(0,
			  bma4_accel_drv.set_data_rate(SENSOR, 100 * 1000, 0));
	zassert_equal(200 * 1000, bma4_accel_drv.get_data_rate(SENSOR));
}

ZTEST_USER(bma4xx, test_read_data)
{
	intv3_t acceleration;

	bma4xx_emul_set_accel_data(EMUL, 627, 1, -809);
	zassert_ok(bma4_accel_drv.read(SENSOR, acceleration));
	/*
	 * read() returns raw sensor data, which is shifted. The consumer of the
	 * data is expected to know this and possibly also compensate for
	 * scaling when the sensitivity changes.
	 */
	zassert_equal(acceleration[0], 627 << 4, "actual value was %d",
		      acceleration[0]);
	zassert_equal(acceleration[1], 1 << 4, "actual value was %d",
		      acceleration[1]);
	zassert_equal(acceleration[2], -(809 << 4), "actual value was %d",
		      acceleration[2]);

	/* Communication errors bubble up. */
	i2c_common_emul_set_read_fail_reg(bma4xx_emul_get_i2c(EMUL),
					  BMA4_DATA_8_ADDR);
	zassert_not_equal(bma4_accel_drv.read(SENSOR, acceleration), 0);
}

ZTEST_USER(bma4xx, test_offset)
{
	int16_t offsets[] = { 4, -40, 400 };
	int8_t offset_regs[3];
	uint16_t temperature;

	/* set_offset writes offsets successfully. */
	zassert_ok(bma4_accel_drv.set_offset(SENSOR, offsets, 0));
	bma4xx_emul_get_offset(EMUL, &offset_regs);
	/*
	 * Parameter to set_offset is in milli-g, but register values are 3.9mg
	 * per LSb; driver scales the inputs as needed, rounding to nearest
	 * integer.
	 */
	zassert_equal(offset_regs[0], 1, "actual value is %d", offset_regs[0]);
	zassert_equal(offset_regs[1], -10, "actual value is %d",
		      offset_regs[1]);
	zassert_equal(offset_regs[2], 103, "actual value is %d",
		      offset_regs[2]);

	/* get_offset agrees with the programmed offsets, scaled back to mg. */
	memset(offsets, 0, sizeof(offsets));
	zassert_ok(bma4_accel_drv.get_offset(SENSOR, offsets, &temperature));
	zassert_equal(offsets[0], 4, "actual value is %d", offsets[0]);
	zassert_equal(offsets[1], -39, "actual value is %d", offsets[1]);
	zassert_equal(offsets[2], 402, "actual value is %d", offsets[2]);

	/* Out of range offsets are clamped to the accepted range. */
	offsets[0] = 684;
	offsets[1] = -800;
	offsets[2] = 0;
	zassert_ok(bma4_accel_drv.set_offset(SENSOR, offsets, 0));
	bma4xx_emul_get_offset(EMUL, &offset_regs);
	zassert_equal(offset_regs[0], 127);
	zassert_equal(offset_regs[1], -128);
	zassert_equal(offset_regs[2], 0);

	/* Communication errors bubble up. */
	i2c_common_emul_set_write_fail_reg(bma4xx_emul_get_i2c(EMUL),
					   BMA4_OFFSET_1_ADDR);
	zassert_not_equal(bma4_accel_drv.set_offset(SENSOR, offsets, 0), 0);
	i2c_common_emul_set_read_fail_reg(bma4xx_emul_get_i2c(EMUL),
					  BMA4_OFFSET_0_ADDR);
	zassert_not_equal(
		bma4_accel_drv.get_offset(SENSOR, offsets, &temperature), 0);
}

ZTEST_USER(bma4xx, test_resolution)
{
	/* Resolution is always 12 bits. */
	zassert_equal(bma4_accel_drv.get_resolution(SENSOR), 12);
}

ZTEST_USER(bma4xx, test_interrupt)
{
	uint8_t int_map_data, int1_io_ctrl;
	bool int_latched_mode;
	const uint8_t two_frames_data[] = {
		4 << 4,
		0,
		(42 & 0xF) << 4,
		42 >> 4,
		(421 & 0xF) << 4,
		421 >> 4,
		0,
		0,
		0,
		0,
		1 << 4,
		0,
	};
	uint32_t evt = CONFIG_ACCEL_BMA4XX_INT_EVENT;
	struct ec_response_motion_sensor_data host_data[8];
	int host_frames_read;
	uint16_t host_data_sz;

	/* Run init to get interrupts configured. */
	zassert_ok(bma4_accel_drv.init(SENSOR));
	/* Verify interrupt configuration is as expected. */
	zassert_true(bma4xx_emul_is_fifo_enabled(EMUL));
	int_map_data = bma4xx_emul_get_interrupt_config(EMUL, &int1_io_ctrl,
							&int_latched_mode);
	zassert_equal(int_map_data, 0x07); /* all interrupts on INT1 */
	/* INT1 output enabled, active-low push-pull. */
	zassert_equal(int1_io_ctrl, 0x08);
	zassert_true(int_latched_mode);

	/* Ensure every sample gets queued to the AP. */
	SENSOR->oversampling_ratio = 1;

	/* Queue two samples of data and run the interrupt handler. */
	bma4xx_emul_set_fifo_data(EMUL, two_frames_data,
				  sizeof(two_frames_data));
	zassert_ok(bma4_accel_drv.irq_handler(SENSOR, &evt));

	/*
	 * Retrieve the data that should have been queued for the host by the
	 * interrupt handler.
	 */
	host_frames_read = motion_sense_fifo_read(sizeof(host_data),
						  ARRAY_SIZE(host_data),
						  &host_data, &host_data_sz);
	BUILD_ASSERT(ARRAY_SIZE(host_data) > 4,
		     "must be possible to retrieve "
		     "more than the expected number of frames");
	zassert_equal(host_frames_read, 4,
		      "actually put %d frames into the FIFO", host_frames_read);

	/* First frame is a timestamp which we don't care about. */
	zassert_equal(host_data[0].flags, MOTIONSENSE_SENSOR_FLAG_TIMESTAMP);
	/* Next is the first sample from the sensor. */
	zassert_equal(host_data[1].flags, 0);
	zassert_equal(host_data[1].sensor_num, bma4xx_emul_get_sensor_num(EMUL),
		      "data was generated by an unexpected sensor");
	zassert_equal(host_data[1].data[0], 0x40, "X accel was %d",
		      host_data[1].data[0]);
	zassert_equal(host_data[1].data[1], 42 << 4, "Y accel was %d",
		      host_data[1].data[1]);
	zassert_equal(host_data[1].data[2], 421 << 4, "Z accel was %d",
		      host_data[1].data[2]);
	/* Another uninteresting timestamp frame. */
	zassert_equal(host_data[2].flags, MOTIONSENSE_SENSOR_FLAG_TIMESTAMP);
	/* And the second sample from the sensor. */
	zassert_equal(host_data[3].flags, 0);
	zassert_equal(host_data[3].sensor_num, bma4xx_emul_get_sensor_num(EMUL),
		      "data was generated by an unexpected sensor");
	zassert_equal(host_data[3].data[0], 0, "X accel was %d",
		      host_data[3].data[0]);
	zassert_equal(host_data[3].data[1], 0, "Y accel was %d",
		      host_data[3].data[1]);
	zassert_equal(host_data[3].data[2], 1 << 4, "Z accel was %d",
		      host_data[3].data[2]);
}

/**
 * This struct captures I2C transactions during the calibration test.
 *
 * Using a bespoke log like this rather than <zephyr/fff.h> fakes is simpler
 * to understand because it records only the relevant information. The
 * calibration_read_byte and calibration_write_byte functions are responsible
 * for logging each read or write transaction into a log, for inspection later.
 */
struct calibration_log {
	struct {
		uint8_t addr;
		bool write;
		uint8_t write_val;
	} activity[256];
	size_t count;
};

static int calibration_read_byte(const struct emul *emul, int reg, uint8_t *val,
				 int bytes, void *ctx)
{
	struct calibration_log *log = ctx;
	/* Sensor is reading 0, 0, +0.992g at 4g sensitivity. */
	const uint8_t acc_data[6] = { 0, 0, 0, 0, (508 & 0xF) << 4, 508 >> 4 };

	zassert_true(log->count <= ARRAY_SIZE(log->activity),
		     "i2c log overflowed");

	reg += bytes; /* burst reads */
	log->activity[log->count].write = false;
	log->activity[log->count].addr = reg;
	log->count++;

	switch (reg) {
	case BMA4_STATUS_ADDR:
		*val = 0x90; /* drdy_acc + cmd_rdy */
		break;
	case BMA4_DATA_8_ADDR:
	case BMA4_DATA_8_ADDR + 1:
	case BMA4_DATA_8_ADDR + 2:
	case BMA4_DATA_8_ADDR + 3:
	case BMA4_DATA_8_ADDR + 4:
	case BMA4_DATA_8_ADDR + 5:
		*val = acc_data[reg - BMA4_DATA_8_ADDR];
		break;
	default:
		*val = 0;
	}
	return 0;
}

static int calibration_write_byte(const struct emul *emul, int reg, uint8_t val,
				  int bytes, void *ctx)
{
	struct calibration_log *log = ctx;

	__ASSERT_NO_MSG(bytes >= 1);
	reg += bytes - 1; /* burst writes */

	log->activity[log->count].write = true;
	log->activity[log->count].addr = reg;
	log->activity[log->count].write_val = val;
	log->count++;

	return 0;
}

ZTEST_USER(bma4xx, test_calibration)
{
	struct calibration_log log = {
		.count = 0,
	};
	size_t log_asserted = 0;

/**
 * Macro that walks through the calibration log, asserting on each operation.
 *
 * Each use of ASSERT_NEXT consumes the oldest entry (increments log_asserted)
 * and checks that entry for being the correct kind of transaction against the
 * expected register, and that the expected value was written if it was a write.
 */
#define ASSERT_NEXT(want_write, want_addr, want_write_val)                     \
	do {                                                                   \
		zassert_true(log_asserted < log.count,                         \
			     "no more logs to check (have %d entries)",        \
			     log.count);                                       \
									       \
		bool was_write = log.activity[log_asserted].write;             \
		zassert_equal(was_write, want_write,                           \
			      "transaction at index %d was a %s",              \
			      log_asserted, was_write ? "write" : "read");     \
									       \
		uint8_t addr = log.activity[log_asserted].addr;                \
		zassert_equal(addr, want_addr,                                 \
			      "transaction at index %d was with register %#x", \
			      log_asserted, addr);                             \
									       \
		if (want_write) {                                              \
			uint8_t write_val =                                    \
				log.activity[log_asserted].write_val;          \
			zassert_equal(write_val, want_write_val,               \
				      "write at index %d wrote value %#x",     \
				      log_asserted, write_val);                \
		}                                                              \
		log_asserted++;                                                \
	} while (0)

#define ASSERT_R(addr) ASSERT_NEXT(false, addr, 0)
#define ASSERT_W(addr, val) ASSERT_NEXT(true, addr, val)
#define ASSERT_RW(addr, val)         \
	do {                         \
		ASSERT_R(addr);      \
		ASSERT_W(addr, val); \
	} while (0)

	/* Range must be set before calibration. */
	zassert_ok(bma4_accel_drv.set_range(SENSOR, 4, 0));

	/* Record transactions in the log. */
	i2c_common_emul_set_read_func(bma4xx_emul_get_i2c(EMUL),
				      calibration_read_byte, &log);
	i2c_common_emul_set_write_func(bma4xx_emul_get_i2c(EMUL),
				       calibration_write_byte, &log);

	zassert_ok(bma4_accel_drv.perform_calib(SENSOR, 1));

	/* Log messages help determine where failures occur when they happen. */
	LOG_INF("Verify configuration readout");
	/* Read current configuration to store back on completion. */
	ASSERT_R(BMA4_ACCEL_CONFIG_ADDR);
	ASSERT_R(BMA4_ACCEL_RANGE_ADDR);
	ASSERT_R(BMA4_FIFO_CONFIG_1_ADDR);
	ASSERT_R(BMA4_POWER_CTRL_ADDR);
	ASSERT_R(BMA4_POWER_CONF_ADDR);
	LOG_INF("Verify configuration setting for calibration");
	/* Disabled offset. */
	ASSERT_RW(BMA4_NV_CONFIG_ADDR, 0);
	/* Disabled FIFO. */
	ASSERT_W(BMA4_FIFO_CONFIG_1_ADDR, 0);
	/* Configured to 50 Hz continuous mode. */
	ASSERT_W(BMA4_ACCEL_CONFIG_ADDR, 0xb7);
	/* Enabled sensor. */
	ASSERT_RW(BMA4_POWER_CTRL_ADDR, 0x04);
	/* Power save mode disabled. */
	ASSERT_RW(BMA4_POWER_CONF_ADDR, 0);

	/* Reads 32 samples, polling for data ready before each read. */
	LOG_INF("Verify calibration data capture");
	for (int i = 0; i < 32; i++) {
		ASSERT_R(BMA4_STATUS_ADDR);
		ASSERT_R(BMA4_DATA_8_ADDR);
		ASSERT_R(BMA4_DATA_8_ADDR + 1);
		ASSERT_R(BMA4_DATA_8_ADDR + 2);
		ASSERT_R(BMA4_DATA_8_ADDR + 3);
		ASSERT_R(BMA4_DATA_8_ADDR + 4);
		ASSERT_R(BMA4_DATA_8_ADDR + 5);
	}

	/*
	 * Wrote new offset. It's a small positive Z axis offset since we're
	 * reading not quite 1g on Z.
	 */
	LOG_INF("Verify expected offset applied");
	ASSERT_W(BMA4_OFFSET_0_ADDR, 0);
	ASSERT_W(BMA4_OFFSET_1_ADDR, 0);
	ASSERT_W(BMA4_OFFSET_2_ADDR, 0x1);

	LOG_INF("Verify applied final configuration");
	/* Re-enabled offset. */
	ASSERT_RW(BMA4_NV_CONFIG_ADDR, BMA4_NV_ACCEL_OFFSET_MSK);
	/* Restored the original configuration. */
	ASSERT_W(BMA4_ACCEL_CONFIG_ADDR, 0);
	ASSERT_W(BMA4_ACCEL_RANGE_ADDR, 0);
	ASSERT_W(BMA4_FIFO_CONFIG_1_ADDR, 0);
	ASSERT_W(BMA4_POWER_CTRL_ADDR, 0);
	ASSERT_W(BMA4_POWER_CONF_ADDR, 0);

	zassert_equal(log_asserted, log.count,
		      "logged %d transactions, but only %d were checked",
		      log.count, log_asserted);
}
```

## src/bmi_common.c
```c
/* Copyright 2022 The ChromiumOS Authors
 * Use of this source code is governed by a BSD-style license that can be
 * found in the LICENSE file.
 */

#include <zephyr/fff.h>
#include <zephyr/ztest.h>

#include "accelgyro_bmi_common.h"
#include "i2c.h"
#include "emul/emul_bmi.h"
#include "emul/emul_common_i2c.h"
#include "test/drivers/test_state.h"

#define BMI_NODE DT_NODELABEL(accel_bmi160)
#define BMI_ACC_SENSOR_ID SENSOR_ID(DT_NODELABEL(ms_bmi160_accel))

FAKE_VALUE_FUNC(int, i2c_write_handler, const struct emul *, int, uint8_t, int,
		void *);
FAKE_VALUE_FUNC(int, i2c_read_handler, const struct emul *, int, uint8_t *, int,
		void *);

void bmi_common_before(void *f)
{
	ARG_UNUSED(f);

	RESET_FAKE(i2c_write_handler);
	RESET_FAKE(i2c_read_handler);
}

void bmi_common_after(void *f)
{
	const struct emul *emul = EMUL_DT_GET(BMI_NODE);
	struct i2c_common_emul_data *common_data =
		emul_bmi_get_i2c_common_data(emul);
	ARG_UNUSED(f);

	motion_sensors[BMI_ACC_SENSOR_ID].type = MOTIONSENSE_TYPE_ACCEL;
	i2c_common_emul_set_write_func(common_data, NULL, NULL);
	i2c_common_emul_set_read_func(common_data, NULL, NULL);
}

ZTEST_SUITE(bmi_common, drivers_predicate_post_main, NULL, bmi_common_before,
	    bmi_common_after, NULL);

ZTEST(bmi_common, test_get_xyz_reg_mag)
{
	int reg;

	motion_sensors[BMI_ACC_SENSOR_ID].type = MOTIONSENSE_TYPE_MAG;
	reg = bmi_get_xyz_reg(&motion_sensors[BMI_ACC_SENSOR_ID]);

	zassert_equal(4, reg, "Expected 0, but got %d", reg);

	motion_sensors[BMI_ACC_SENSOR_ID].type = MOTIONSENSE_TYPE_PROX;
	reg = bmi_get_xyz_reg(&motion_sensors[BMI_ACC_SENSOR_ID]);

	zassert_equal(-1, reg, "Expected 0, but got %d", reg);
}

ZTEST(bmi_common, test_write16)
{
	const struct emul *emul = EMUL_DT_GET(BMI_NODE);
	struct i2c_common_emul_data *common_data =
		emul_bmi_get_i2c_common_data(emul);

	i2c_write_handler_fake.return_val = 0;
	i2c_common_emul_set_write_func(common_data, i2c_write_handler, NULL);
	zassert_ok(bmi_write16(
		motion_sensors[BMI_ACC_SENSOR_ID].port,
		motion_sensors[BMI_ACC_SENSOR_ID].i2c_spi_addr_flags, 0,
		0x1234));
	zassert_equal(2, i2c_write_handler_fake.call_count);
	zassert_equal(0, i2c_write_handler_fake.arg1_history[0]);
	zassert_equal(0, i2c_write_handler_fake.arg1_history[1]);
	zassert_equal(0x34, i2c_write_handler_fake.arg2_history[0],
		      "got 0x%02x", i2c_write_handler_fake.arg2_history[0]);
	zassert_equal(0x12, i2c_write_handler_fake.arg2_history[1],
		      "got 0x%02x", i2c_write_handler_fake.arg2_history[1]);
	zassert_equal(1, i2c_write_handler_fake.arg3_history[0], "got %d",
		      i2c_write_handler_fake.arg3_history[0]);
	zassert_equal(2, i2c_write_handler_fake.arg3_history[1], "got %d",
		      i2c_write_handler_fake.arg3_history[1]);
}

ZTEST(bmi_common, test_read32)
{
	const struct emul *emul = EMUL_DT_GET(BMI_NODE);
	struct i2c_common_emul_data *common_data =
		emul_bmi_get_i2c_common_data(emul);
	int data = 0;

	i2c_read_handler_fake.return_val = 0;
	i2c_common_emul_set_read_func(common_data, i2c_read_handler, NULL);
	zassert_ok(
		bmi_read32(motion_sensors[BMI_ACC_SENSOR_ID].port,
			   motion_sensors[BMI_ACC_SENSOR_ID].i2c_spi_addr_flags,
			   0, &data));
	zassert_equal(4, i2c_read_handler_fake.call_count);
	zassert_equal(0, i2c_read_handler_fake.arg1_history[0]);
	zassert_equal(0, i2c_read_handler_fake.arg1_history[1]);
	zassert_equal(0, i2c_read_handler_fake.arg1_history[2]);
	zassert_equal(0, i2c_read_handler_fake.arg1_history[3]);
	zassert_equal(0, i2c_read_handler_fake.arg3_history[0], "got %d",
		      i2c_read_handler_fake.arg3_history[0]);
	zassert_equal(1, i2c_read_handler_fake.arg3_history[1], "got %d",
		      i2c_read_handler_fake.arg3_history[1]);
	zassert_equal(2, i2c_read_handler_fake.arg3_history[2], "got %d",
		      i2c_read_handler_fake.arg3_history[2]);
	zassert_equal(3, i2c_read_handler_fake.arg3_history[3], "got %d",
		      i2c_read_handler_fake.arg3_history[3]);
}

ZTEST(bmi_common, test_list_activities)
{
	struct bmi_drv_data_t *data =
		BMI_GET_DATA(&motion_sensors[BMI_ACC_SENSOR_ID]);
	uint32_t enabled = 0;
	uint32_t disabled = 0;

	data->enabled_activities = 0x12;
	data->disabled_activities = 0x34;

	zassert_ok(bmi_list_activities(&motion_sensors[BMI_ACC_SENSOR_ID],
				       &enabled, &disabled));
	zassert_equal(0x12, enabled);
	zassert_equal(0x34, disabled);
}
```

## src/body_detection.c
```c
/* Copyright 2023 The ChromiumOS Authors
 * Use of this source code is governed by a BSD-style license that can be
 * found in the LICENSE file.
 */

#include "body_detection.h"
#include "console.h"
#include "test/drivers/test_state.h"
#include "test/drivers/utils.h"

#include <zephyr/fff.h>
#include <zephyr/kernel.h>
#include <zephyr/shell/shell.h>
#include <zephyr/ztest.h>

static void body_detect_mode_before(void *state)
{
	ARG_UNUSED(state);
	body_detect_reset();
}

static void body_detect_mode_after(void *state)
{
	ARG_UNUSED(state);
	body_detect_reset();
}

/**
 * @brief TestPurpose: various body_detect_change_state operations.
 */
ZTEST_USER(bodydetectmode, test_body_detect_set_state)
{
	enum body_detect_states body_detect_state;

	body_detect_state = body_detect_get_state();
	zassert_equal(body_detect_state, BODY_DETECTION_ON_BODY,
		      "unexpected body detect initial mode: %d",
		      body_detect_state);

	body_detect_change_state(BODY_DETECTION_OFF_BODY, false);
	body_detect_state = body_detect_get_state();
	zassert_equal(body_detect_state, BODY_DETECTION_OFF_BODY,
		      "unexpected body detect mode: %d", body_detect_state);

	body_detect_change_state(BODY_DETECTION_ON_BODY, false);
	body_detect_state = body_detect_get_state();
	zassert_equal(body_detect_state, BODY_DETECTION_ON_BODY,
		      "unexpected body detect mode: %d", body_detect_state);
}

/**
 * @brief TestPurpose: ensure that console bodydetectmode forces the status,
 * inhibiting body_detect_change_state, and then unforce it with reset.
 */
ZTEST_USER(bodydetectmode, test_setbodydetectionmode_forced)
{
	int ret;
	enum body_detect_states body_detect_state;

	body_detect_state = body_detect_get_state();
	zassert_equal(body_detect_state, BODY_DETECTION_ON_BODY,
		      "unexpected body detect initial mode: %d",
		      body_detect_state);

	/**
	 * Set body detect mode to "off", since it defaults "on".
	 */
	ret = shell_execute_cmd(get_ec_shell(), "bodydetectmode off");
	zassert_equal(ret, EC_SUCCESS, "unexpected command return status: %d",
		      ret);

	body_detect_state = body_detect_get_state();
	zassert_equal(body_detect_state, BODY_DETECTION_OFF_BODY,
		      "unexpected body detect mode: %d", body_detect_state);

	/**
	 * Set body detect mode to "on", to validate it can be enabled also.
	 */
	ret = shell_execute_cmd(get_ec_shell(), "bodydetectmode on");
	zassert_equal(ret, EC_SUCCESS, "unexpected command return status: %d",
		      ret);

	body_detect_state = body_detect_get_state();
	zassert_equal(body_detect_state, BODY_DETECTION_ON_BODY,
		      "unexpected body detect mode: %d", body_detect_state);

	/**
	 * Reset body detect mode. This returns body detect to "on".
	 */
	ret = shell_execute_cmd(get_ec_shell(), "bodydetectmode reset");
	zassert_equal(ret, EC_SUCCESS, "unexpected command return status: %d",
		      ret);

	body_detect_state = body_detect_get_state();
	zassert_equal(body_detect_state, BODY_DETECTION_ON_BODY,
		      "unexpected body detect mode: %d", body_detect_state);
}

/**
 * @brief TestPurpose: check the "too many arguments" case.
 */
ZTEST_USER(bodydetectmode, test_setbodydetectionmode_too_many_args)
{
	int ret;

	ret = shell_execute_cmd(get_ec_shell(),
				"bodydetectmode too many arguments");
	zassert_equal(ret, EC_ERROR_PARAM_COUNT,
		      "unexpected command return status: %d", ret);
}

/**
 * @brief TestPurpose: check the "unknown argument" case.
 */
ZTEST_USER(bodydetectmode, test_setbodydetectionmode_unknown_arg)
{
	int ret;

	ret = shell_execute_cmd(get_ec_shell(), "bodydetectmode X");
	zassert_equal(ret, EC_ERROR_PARAM1,
		      "unexpected command return status: %d", ret);
}

ZTEST_SUITE(bodydetectmode, drivers_predicate_post_main, NULL,
	    body_detect_mode_before, body_detect_mode_after, NULL);
```
